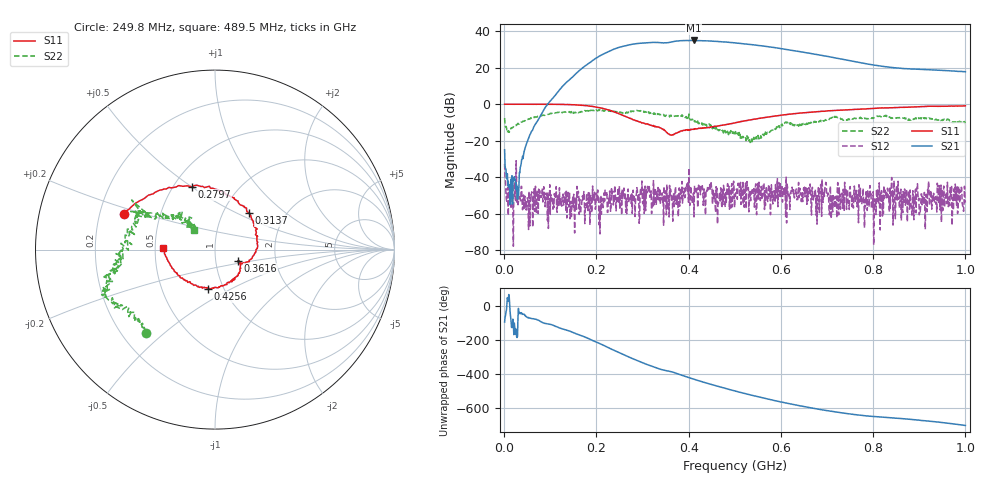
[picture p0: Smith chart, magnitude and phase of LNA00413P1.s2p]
! Created with skrf 1.9.0 (http://scikit-rf.org).
# Hz S RI R 50.0
!freq ReS11 ImS11 ReS21 ImS21 ReS12 ImS12 ReS22 ImS22
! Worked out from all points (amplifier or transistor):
!   1001 points, 1 MHz to 1 GHz, reference 50 ohm
!   highest |S21| = 34.9 dB at 410.6 MHz (marker M1)
!   |S21| within 3 dB of that: 261.9 MHz to 559.7 MHz (297.8 MHz wide, 72.5 % of centre)
!   unconditionally stable (mu >= 1): 203.3 MHz to 298.3 MHz; 299 MHz to 400.2 MHz; 401 MHz to end of sweep (the widest 3 of 36)
!   at 166.8 MHz: K = 1.81, MAG = 32.2 dB, |S12| = -55.5 dB
!   at 500.5 MHz: K = 2.99, MAG = 34.2 dB, |S12| = -50.2 dB
!   at 1 GHz: K = 5.56, MAG = 25.4 dB, |S12| = -53.8 dB
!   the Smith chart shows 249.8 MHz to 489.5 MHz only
!   S11 on the Smith chart (normalised r, x): 249.8 MHz: 0.31, +0.17; 279.7 MHz: 0.62, +0.50; 313.7 MHz: 1.32, +0.58; 361.6 MHz: 1.28, -0.16; 425.6 MHz: 0.84, -0.39; 489.5 MHz: 0.55, +0.01
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1000000  0.9986 0.0154  -0.00583 -0.0564  -0.0222 -0.0062  0.3 0.2923
1.08892e8  0.5297 -0.8422  -0.7718 -1.459  0.00123 0.00335  0.4085 -0.3914
1.67833e8  -0.2084 -0.9102  -9.407 -0.6316  -0.00124 -0.00108  0.0054 -0.6252
2.12788e8  -0.6825 -0.3703  -14.85 17.28  -0.00138 0.00132  -0.2552 -0.6226
2.3077e8  -0.6639 -0.0646  -8.677 28  0.00109 -0.000427  -0.2896 -0.5803
2.49751e8  -0.5046 0.2004  4.105 35.85  -0.00327 -0.00474  -0.3822 -0.4673
2.79721e8  -0.1298 0.3495  29.74 32.5  -0.00196 -0.00397  -0.5722 -0.268
3.13687e8  0.1891 0.2044  47.82 8.46  -0.00318 0.00244  -0.5922 -0.1406
3.34666e8  0.2378 0.0176  48.02 -8.546  -0.00342 0.0028  -0.5372 -0.0254
3.61639e8  0.1281 -0.0629  44.39 -23.3  0.00104 0.00391  -0.4884 0.1146
3.8062e8  0.1378 -0.1089  38.76 -38.42  0.00146 -0.000699  -0.4219 0.1997
4.1059e8  0.0431 -0.2023  17.29 -52.83  -0.0031 0.00198  -0.3216 0.2046
4.25575e8  -0.0385 -0.2185  5.291 -54.57  -0.00247 0.00224  -0.2331 0.1998
4.55545e8  -0.1942 -0.1562  -16.61 -50.03  -0.00094 0.00261  -0.1514 0.1424
4.89511e8  -0.2893 0.011  -34 -35.42  0.00388 -0.00175  -0.1185 0.1079
5.005e8  -0.3005 0.072  -37.72 -29.69  0.000739 0.00302  -0.1132 0.103
5.4046e8  -0.252 0.2924  -41.3 -8.148  0.00361 -0.000459  -0.1155 -0.00545
5.88412e8  -0.0669 0.4736  -33.11 11.62  0.00583 -0.00247  -0.1859 -0.0832
6.67333e8  0.3057 0.5286  -11.23 21.2  -5.96e-05 -0.0045  -0.3235 0.00555
7.42258e8  0.5717 0.403  1.169 16.19  -0.00127 0.000352  -0.3537 0.122
8.34166e8  0.7805 0.1619  4.924 9.112  0.00166 -0.00268  -0.3485 0.2885
1e9  0.8123 -0.3915  7.485 2.093  -9.78e-05 -0.00203  0.0289 0.3082
